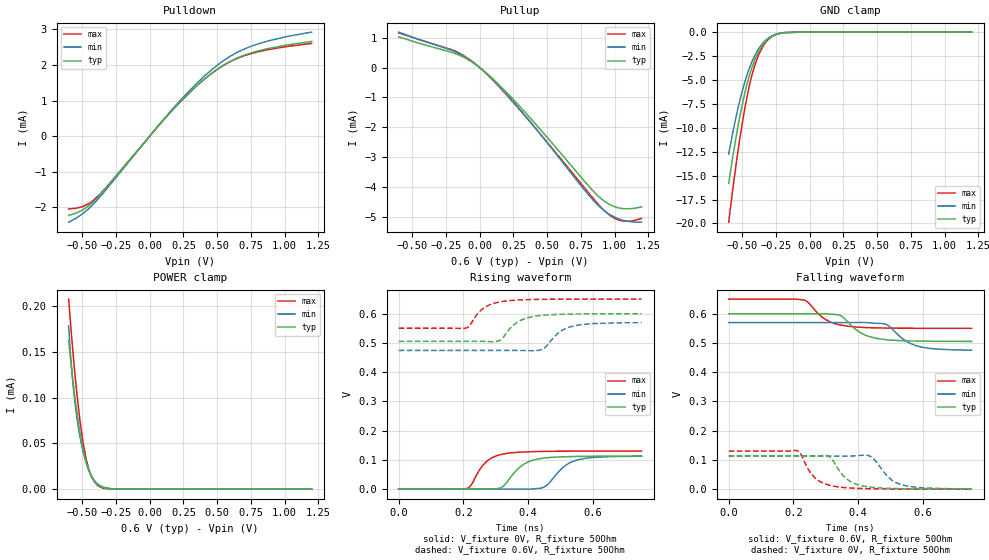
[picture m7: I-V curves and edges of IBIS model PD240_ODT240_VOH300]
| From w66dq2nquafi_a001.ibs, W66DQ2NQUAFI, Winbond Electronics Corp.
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[Model]   PD240_ODT240_VOH300
Model_type   I/O
Polarity   Non-Inverting
Enable   Active-Low
Vinl = 0.08
Vinh = 0.22
Vmeas = 0.15
Vref = 0
Cref = 0pF
Rref = 240
|   typ   min   max
C_comp   1.15pF   1.05pF   1.25pF
[Voltage Range]   0.6   0.57   0.65
[Temperature Range]   25   95   -40
[Pullup Reference]   0.6   0.57   0.65
[Pulldown Reference]   0   0   0
[Power Clamp Reference]   0.6   0.57   0.65
[GND Clamp Reference]   0   0   0
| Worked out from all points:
|   slope of the pulldown table from 0 to 0.09 V, typ, clamps not added: 224 ohm
|   slope of the pullup table from 0 to 0.09 V, typ, clamps not added: 261 ohm
|   GND clamp passes 1 mA (typ) near -0.33 V on its own axis
|   falling waveform, V_fixture 0.6V, R_fixture 50Ohm: 20-80 % time 68.7ps typ, 68.6ps min, 65.4ps max; typ from 0.6 V to 0.505 V
|   rising waveform, V_fixture 0V, R_fixture 50Ohm: 20-80 % time 61.7ps typ, 62.7ps min, 53ps max; typ from 0 V to 0.113 V
|   rising waveform, V_fixture 0.6V, R_fixture 50Ohm: 20-80 % time 58.2ps typ, 59.1ps min, 54.9ps max; typ from 0.505 V to 0.6 V
|   falling waveform, V_fixture 0V, R_fixture 50Ohm: 20-80 % time 55.8ps typ, 57.8ps min, 52.7ps max; typ from 0.113 V to 0 V
[Pulldown]
|   Voltage   I(typ)   I(min)   I(max)
-600mV    -2.227mA   -2.416mA   -2.041mA
-492.6mV  -2.061mA   -2.167mA   -1.972mA
-451.1mV  -1.953mA   -2.033mA   -1.895mA
-401.4mV  -1.783mA   -1.844mA   -1.751mA
-309.5mV  -1.399mA   -1.442mA   -1.385mA
158.1mV   690.9uA    715.3uA    689.4uA
339.9mV   1.388mA    1.452mA    1.383mA
510.2mV   1.907mA    2.021mA    1.899mA
623.2mV   2.154mA    2.304mA    2.144mA
761.4mV   2.351mA    2.54mA     2.331mA
1.013V    2.559mA    2.796mA    2.518mA
1.2V      2.663mA    2.926mA    2.607mA
[GND Clamp]
|   Voltage   I(typ)   I(min)   I(max)
-600mV    -15.82mA   -12.76mA   -19.87mA
-567.5mV  -12.86mA   -10.37mA   -16.21mA
-518.8mV  -8.937mA   -7.237mA   -11.26mA
-492.1mV  -7.106mA   -5.799mA   -8.904mA
-451.8mV  -4.807mA   -3.972mA   -5.925mA
-428.4mV  -3.741mA   -3.114mA   -4.542mA
-405.7mV  -2.876mA   -2.428mA   -3.43mA
-384mV    -2.218mA   -1.884mA   -2.577mA
-338.7mV  -1.181mA   -1.03mA    -1.32mA
-283.8mV  -463.2uA   -431.3uA   -499.4uA
-187.9mV  -59.34uA   -68.23uA   -43.65uA
1.2V      0A         0A         0A
[Pullup]
|   Voltage   I(typ)   I(min)   I(max)
-600mV    1.025mA    1.184mA    1.157mA
-188.5mV  477.8uA    541.1uA    565.4uA
-18.6mV   62.92uA    67.56uA    71.36uA
84.57mV   -323uA     -347uA     -364.3uA
228.1mV   -964.7uA   -1.035mA   -1.059mA
443.4mV   -2.039mA   -2.193mA   -2.189mA
772mV     -3.776mA   -4.068mA   -3.994mA
919.1mV   -4.45mA    -4.769mA   -4.762mA
970.2mV   -4.595mA   -4.93mA    -4.958mA
1.056V    -4.711mA   -5.097mA   -5.127mA
1.124V    -4.716mA   -5.157mA   -5.131mA
1.2V      -4.658mA   -5.169mA   -5.044mA
[POWER Clamp]
|   Voltage   I(typ)   I(min)   I(max)
-600mV    162.4uA    178.3uA    207.7uA
-580mV    133.8uA    135.2uA    170.3uA
-556.8mV  104uA      99.06uA    130.8uA
-529.9mV  74.6uA     68.92uA    92.27uA
-518.8mV  64.14uA    59.06uA    77.63uA
-492.8mV  43.46uA    40.67uA    50.41uA
-470mV    29.54uA    28.53uA    32.63uA
-451.1mV  20.8uA     20.62uA    21.88uA
-428.4mV  13.13uA    13.55uA    12.9uA
-384mV    4.871uA    5.73uA     3.924uA
-280.2mV  204.2nA    430.3nA    67.2nA
1.2V      0A         0A         0A
[Ramp]
R_load = 50
|   typ   min   max
dV/dt_r 6.7829E-02/6.1706E-11   6.7487E-02/6.2692E-11   7.8092E-02/5.2962E-11
dV/dt_f 5.6746E-02/6.8348E-11   5.6752E-02/6.8499E-11   5.9868E-02/6.5424E-11
[Falling Waveform]
V_fixture = 0.6V
V_fixture_min = 0.57V
V_fixture_max = 0.65V
R_fixture = 50Ohm
C_fixture = 0F
|   Time   V(typ)   V(min)   V(max)
0s        600mV      570mV      650mV
234ps     600mV      570mV      646.6mV
290ps     600.3mV    570mV      587.3mV
336ps     597mV      570mV      564mV
410ps     533.3mV    570.3mV    553.7mV
477ps     512.5mV    566.2mV    551.3mV
498ps     510.2mV    555mV      551mV
542ps     507.7mV    510.6mV    550.6mV
575ps     506.8mV    492.3mV    550.4mV
750ps     505.4mV    475.4mV    550.2mV
[Rising Waveform]
V_fixture = 0V
V_fixture_min = 0V
V_fixture_max = 0V
R_fixture = 50Ohm
C_fixture = 0F
|   Time   V(typ)   V(min)   V(max)
0s        8.405uV    27.91uV    1.644uV
212ps     8.612uV    27.91uV    2.536mV
268ps     -89.12uV   27.81uV    91.21mV
312ps     3.251mV    27.94uV    117.3mV
333ps     22.08mV    31.54uV    122mV
377ps     77.95mV    -41.59uV   126.5mV
434ps     103.9mV    2.553mV    128.7mV
512ps     110.7mV    78.51mV    129.7mV
551ps     111.7mV    99.73mV    129.9mV
750ps     113.1mV    112.5mV    130.2mV
[Rising Waveform]
V_fixture = 0.6V
V_fixture_min = 0.57V
V_fixture_max = 0.65V
R_fixture = 50Ohm
C_fixture = 0F
|   Time   V(typ)   V(min)   V(max)
0s        505.3mV    474.3mV    550.2mV
208ps     505.3mV    474.3mV    550.9mV
255ps     505.3mV    474.3mV    612.6mV
303ps     505.3mV    474.3mV    638.1mV
365ps     569.9mV    474.4mV    646.5mV
428ps     592.4mV    474.2mV    648.9mV
450ps     595mV      482.4mV    649.2mV
498ps     597.7mV    538.1mV    649.6mV
533ps     598.6mV    555.9mV    649.8mV
750ps     599.9mV    569.4mV    650mV
[Falling Waveform]
|Gnd
V_fixture = 0V
V_fixture_min = 0V
V_fixture_max = 0V
R_fixture = 50Ohm
C_fixture = 0F
|   Time   V(typ)   V(min)   V(max)
0s        113.2mV    113.3mV    130.2mV
211ps     113.2mV    113.3mV    131.9mV
257ps     113.1mV    113.3mV    50.01mV
303ps     115.2mV    113.3mV    16.08mV
365ps     34.31mV    113.2mV    4.777mV
427ps     8.533mV    116.1mV    1.769mV
450ps     5.588mV    101.1mV    1.279mV
498ps     2.71mV     36.05mV    651.5uV
533ps     1.709mV    15.4mV     393.6uV
750ps     143.2uV    862.4uV    18.45uV
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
